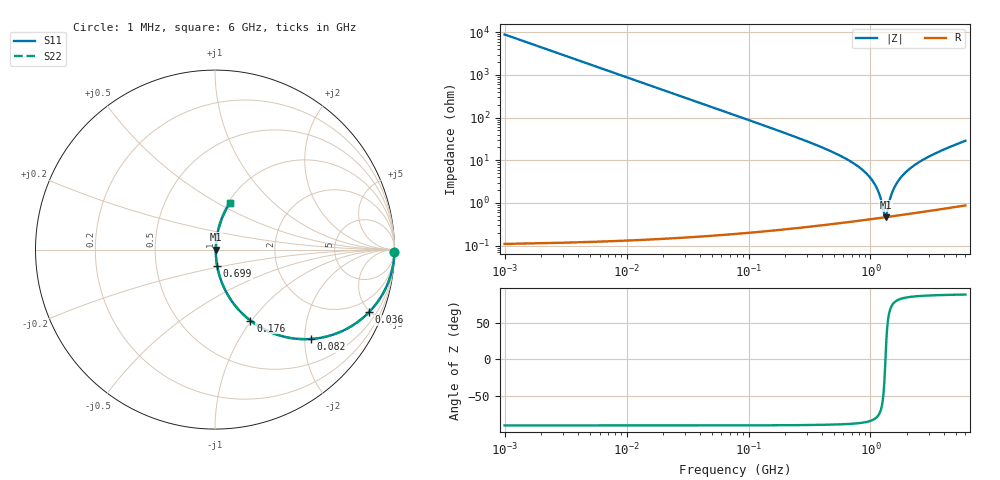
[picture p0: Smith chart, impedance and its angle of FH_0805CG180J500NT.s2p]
! FH 0805CG180J500NT 18 pF 0805 C0G (C15)
! FH publishes no RF data: typical 0805 C0G model, ESL=0.8 nH, ESR=0.10+0.10*sqrt(f/100MHz) ohm
! Generated by make_s2p.py - an estimate, not a measurement
! Series-thru 2-port: part connected between port 1 and port 2.
# Hz S RI R 50
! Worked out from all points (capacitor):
!   1500 points, 1 MHz to 6 GHz, reference 50 ohm
!   read as one part in series: C = 18 pF near 8 MHz
!   lowest |Z| = 466 mohm at 1.33 GHz (marker M1)
!   series resonance near 1.326 GHz, so ESL is about 800 pH
!   S11 on the Smith chart (normalised r, x): 1 MHz: open; 36 MHz: 1.00, -4.91; 82 MHz: 1.00, -2.15; 176 MHz: 1.00, -0.99; 699 MHz: 1.01, -0.18; 6 GHz: 1.02, +0.57
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1000000  0.9999 -0.0113  0.000128 0.0113  0.000128 0.0113  0.9999 -0.0113
3000000  0.9988 -0.0339  0.00115 0.0339  0.00115 0.0339  0.9988 -0.0339
5000000  0.9968 -0.0564  0.00319 0.0564  0.00319 0.0564  0.9968 -0.0564
1.9e7  0.9558 -0.2054  0.0442 0.2054  0.0442 0.2054  0.9558 -0.2054
3.6e7  0.8575 -0.3493  0.1425 0.3493  0.1425 0.3493  0.8575 -0.3493
7.8e7  0.5606 -0.4955  0.4394 0.4955  0.4394 0.4955  0.5606 -0.4955
8.2e7  0.5356 -0.4978  0.4644 0.4978  0.4644 0.4978  0.5356 -0.4978
1.76e8  0.197 -0.3954  0.803 0.3954  0.803 0.3954  0.197 -0.3954
3.31e8  0.0614 -0.2345  0.9386 0.2345  0.9386 0.2345  0.0614 -0.2345
6.99e8  0.0118 -0.09  0.9882 0.09  0.9882 0.09  0.0118 -0.09
8.98e8  0.00678 -0.0528  0.9932 0.0528  0.9932 0.0528  0.00678 -0.0528
1.06e9  0.00513 -0.0299  0.9949 0.0299  0.9949 0.0299  0.00513 -0.0299
1.17e9  0.00468 -0.0166  0.9953 0.0166  0.9953 0.0166  0.00468 -0.0166
1.28e9  0.00458 -0.00469  0.9954 0.00469  0.9954 0.00469  0.00458 -0.00469
1.33e9  0.00463 0.000369  0.9954 -0.000369  0.9954 -0.000369  0.00463 0.000369
1.37e9  0.0047 0.00428  0.9953 -0.00428  0.9953 -0.00428  0.0047 0.00428
1.41e9  0.0048 0.00809  0.9952 -0.00809  0.9952 -0.00809  0.0048 0.00809
1.5e9  0.00512 0.0163  0.9949 -0.0163  0.9949 -0.0163  0.00512 0.0163
1.62e9  0.00571 0.0266  0.9943 -0.0266  0.9943 -0.0266  0.00571 0.0266
2.08e9  0.0093 0.0611  0.9907 -0.0611  0.9907 -0.0611  0.0093 0.0611
3.15e9  0.0229 0.1264  0.9771 -0.1264  0.9771 -0.1264  0.0229 0.1264
6e9  0.0828 0.2608  0.9172 -0.2608  0.9172 -0.2608  0.0828 0.2608
